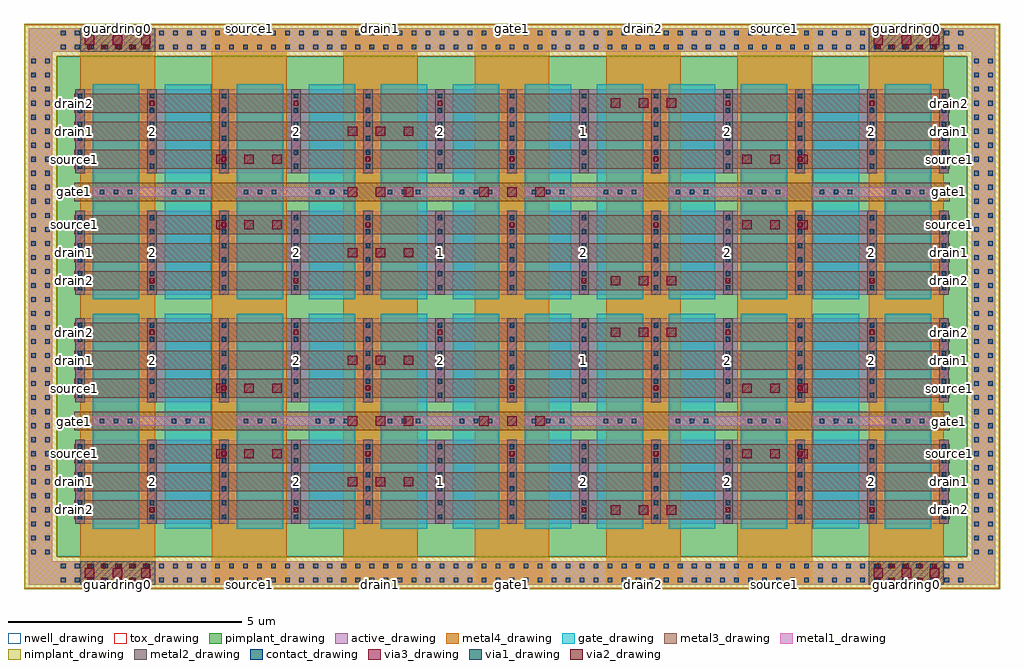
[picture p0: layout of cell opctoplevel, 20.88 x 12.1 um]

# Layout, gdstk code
import gdstk
lib = gdstk.Library(unit=1e-6, precision=1e-09)
def R(c, l, rs):  # rectangles x0, y0, x1, y1
    for r in rs: c.add(gdstk.rectangle(r[:2], r[2:], *l))
def A(c, l, x, y, w, h, nx, ny, dx, dy):  # array of equal rectangles
    R(c, l, [(x+i*dx, y+j*dy, x+i*dx+w, y+j*dy+h) for i in range(nx) for j in range(ny)])
active_drawing = (1, 0)
nwell_drawing = (3, 0)
pimplant_drawing = (4, 0)
nimplant_drawing = (5, 0)
gate_drawing = (6, 0)
contact_drawing = (7, 0)
metal1_drawing = (8, 0)
via1_drawing = (9, 0)
metal2_drawing = (10, 0)
via2_drawing = (11, 0)
metal3_drawing = (12, 0)
via3_drawing = (13, 0)
metal4_drawing = (14, 0)
tox_drawing = (32, 0)

opctoplevel = lib.new_cell('opctoplevel')
A(opctoplevel, active_drawing, -0.37, 0, 3.28, 1.8, 6, 2, 3.08, 2.6)
A(opctoplevel, active_drawing, -0.37, 4.9, 3.28, 1.8, 6, 2, 3.08, 2.6)
R(opctoplevel, active_drawing, [(-1.37,-1.3,19.31,-0.8), (-1.37,-1.3,-0.87,10.6), (18.81,-1.3,19.31,10.6), (-1.37,10.1,19.31,10.6)])
R(opctoplevel, nwell_drawing, [(-1.47,-1.4,19.41,10.7)])
R(opctoplevel, pimplant_drawing, [(-0.77,-0.7,18.71,10)])
R(opctoplevel, nimplant_drawing, [(-1.47,-1.4,19.41,-0.7), (-1.47,-1.4,-0.77,10.7), (18.71,-1.4,19.41,10.7), (-1.47,10,19.41,10.7)])
A(opctoplevel, gate_drawing, 0, -0.1, 1, 2.4, 12, 2, 1.54, 2.2)
A(opctoplevel, gate_drawing, 0, 4.8, 1, 2.4, 12, 2, 1.54, 2.2)
A(opctoplevel, contact_drawing, -0.68, -1.25, 0.1, 0.1, 65, 2, 0.3, 0.3)
A(opctoplevel, contact_drawing, -1.32, -0.65, 0.1, 0.1, 1, 36, 0, 0.3)
A(opctoplevel, contact_drawing, -1.02, -0.65, 0.1, 0.1, 1, 36, 0, 0.3)
A(opctoplevel, contact_drawing, 18.86, -0.65, 0.1, 0.1, 1, 36, 0, 0.3)
A(opctoplevel, contact_drawing, 19.16, -0.65, 0.1, 0.1, 1, 36, 0, 0.3)
A(opctoplevel, contact_drawing, -0.32, 0.1, 0.1, 0.1, 3, 6, 1.54, 0.3)
A(opctoplevel, contact_drawing, 2.76, 0.1, 0.1, 0.1, 3, 6, 1.54, 0.3)
A(opctoplevel, contact_drawing, 5.84, 0.1, 0.1, 0.1, 3, 6, 1.54, 0.3)
A(opctoplevel, contact_drawing, 8.92, 0.1, 0.1, 0.1, 3, 6, 1.54, 0.3)
A(opctoplevel, contact_drawing, 12, 0.1, 0.1, 0.1, 3, 6, 1.54, 0.3)
A(opctoplevel, contact_drawing, 15.08, 0.1, 0.1, 0.1, 3, 6, 1.54, 0.3)
A(opctoplevel, contact_drawing, -0.32, 2.7, 0.1, 0.1, 3, 6, 1.54, 0.3)
A(opctoplevel, contact_drawing, 2.76, 2.7, 0.1, 0.1, 3, 6, 1.54, 0.3)
A(opctoplevel, contact_drawing, 5.84, 2.7, 0.1, 0.1, 3, 6, 1.54, 0.3)
A(opctoplevel, contact_drawing, 8.92, 2.7, 0.1, 0.1, 3, 6, 1.54, 0.3)
A(opctoplevel, contact_drawing, 12, 2.7, 0.1, 0.1, 3, 6, 1.54, 0.3)
A(opctoplevel, contact_drawing, 15.08, 2.7, 0.1, 0.1, 3, 6, 1.54, 0.3)
A(opctoplevel, contact_drawing, -0.32, 5, 0.1, 0.1, 3, 6, 1.54, 0.3)
A(opctoplevel, contact_drawing, 2.76, 5, 0.1, 0.1, 3, 6, 1.54, 0.3)
A(opctoplevel, contact_drawing, 5.84, 5, 0.1, 0.1, 3, 6, 1.54, 0.3)
A(opctoplevel, contact_drawing, 8.92, 5, 0.1, 0.1, 3, 6, 1.54, 0.3)
A(opctoplevel, contact_drawing, 12, 5, 0.1, 0.1, 3, 6, 1.54, 0.3)
A(opctoplevel, contact_drawing, 15.08, 5, 0.1, 0.1, 3, 6, 1.54, 0.3)
A(opctoplevel, contact_drawing, -0.32, 7.6, 0.1, 0.1, 3, 6, 1.54, 0.3)
A(opctoplevel, contact_drawing, 2.76, 7.6, 0.1, 0.1, 3, 6, 1.54, 0.3)
A(opctoplevel, contact_drawing, 5.84, 7.6, 0.1, 0.1, 3, 6, 1.54, 0.3)
A(opctoplevel, contact_drawing, 8.92, 7.6, 0.1, 0.1, 3, 6, 1.54, 0.3)
A(opctoplevel, contact_drawing, 12, 7.6, 0.1, 0.1, 3, 6, 1.54, 0.3)
A(opctoplevel, contact_drawing, 15.08, 7.6, 0.1, 0.1, 3, 6, 1.54, 0.3)
A(opctoplevel, contact_drawing, -0.68, 10.15, 0.1, 0.1, 65, 2, 0.3, 0.3)
R(opctoplevel, contact_drawing, [(0.15,2.15,0.25,2.25), (0.15,2.15,0.25,2.25), (0.45,2.15,0.55,2.25), (0.45,2.15,0.55,2.25), (0.75,2.15,0.85,2.25), (0.75,2.15,0.85,2.25), (1.69,2.15,1.79,2.25), (1.69,2.15,1.79,2.25), (1.99,2.15,2.09,2.25), (1.99,2.15,2.09,2.25), (2.29,2.15,2.39,2.25), (2.29,2.15,2.39,2.25), (3.23,2.15,3.33,2.25), (3.23,2.15,3.33,2.25), (3.53,2.15,3.63,2.25), (3.53,2.15,3.63,2.25), (3.83,2.15,3.93,2.25), (3.83,2.15,3.93,2.25), (4.77,2.15,4.87,2.25), (4.77,2.15,4.87,2.25), (5.07,2.15,5.17,2.25), (5.07,2.15,5.17,2.25), (5.37,2.15,5.47,2.25), (5.37,2.15,5.47,2.25), (6.31,2.15,6.41,2.25), (6.31,2.15,6.41,2.25), (6.61,2.15,6.71,2.25), (6.61,2.15,6.71,2.25), (6.91,2.15,7.01,2.25), (6.91,2.15,7.01,2.25), (7.85,2.15,7.95,2.25), (7.85,2.15,7.95,2.25), (8.15,2.15,8.25,2.25), (8.15,2.15,8.25,2.25), (8.45,2.15,8.55,2.25), (8.45,2.15,8.55,2.25), (9.39,2.15,9.49,2.25), (9.39,2.15,9.49,2.25), (9.69,2.15,9.79,2.25), (9.69,2.15,9.79,2.25), (9.99,2.15,10.09,2.25), (9.99,2.15,10.09,2.25), (10.93,2.15,11.03,2.25), (10.93,2.15,11.03,2.25), (11.23,2.15,11.33,2.25), (11.23,2.15,11.33,2.25), (11.53,2.15,11.63,2.25), (11.53,2.15,11.63,2.25), (12.47,2.15,12.57,2.25), (12.47,2.15,12.57,2.25), (12.77,2.15,12.87,2.25), (12.77,2.15,12.87,2.25), (13.07,2.15,13.17,2.25), (13.07,2.15,13.17,2.25), (14.01,2.15,14.11,2.25), (14.01,2.15,14.11,2.25), (14.31,2.15,14.41,2.25), (14.31,2.15,14.41,2.25), (14.61,2.15,14.71,2.25), (14.61,2.15,14.71,2.25), (15.55,2.15,15.65,2.25), (15.55,2.15,15.65,2.25), (15.85,2.15,15.95,2.25), (15.85,2.15,15.95,2.25), (16.15,2.15,16.25,2.25), (16.15,2.15,16.25,2.25), (17.09,2.15,17.19,2.25), (17.09,2.15,17.19,2.25), (17.39,2.15,17.49,2.25), (17.39,2.15,17.49,2.25), (17.69,2.15,17.79,2.25), (17.69,2.15,17.79,2.25), (0.15,7.05,0.25,7.15), (0.15,7.05,0.25,7.15), (0.45,7.05,0.55,7.15), (0.45,7.05,0.55,7.15), (0.75,7.05,0.85,7.15), (0.75,7.05,0.85,7.15), (1.69,7.05,1.79,7.15), (1.69,7.05,1.79,7.15), (1.99,7.05,2.09,7.15), (1.99,7.05,2.09,7.15), (2.29,7.05,2.39,7.15), (2.29,7.05,2.39,7.15), (3.23,7.05,3.33,7.15), (3.23,7.05,3.33,7.15), (3.53,7.05,3.63,7.15), (3.53,7.05,3.63,7.15), (3.83,7.05,3.93,7.15), (3.83,7.05,3.93,7.15), (4.77,7.05,4.87,7.15), (4.77,7.05,4.87,7.15), (5.07,7.05,5.17,7.15), (5.07,7.05,5.17,7.15), (5.37,7.05,5.47,7.15), (5.37,7.05,5.47,7.15), (6.31,7.05,6.41,7.15), (6.31,7.05,6.41,7.15), (6.61,7.05,6.71,7.15), (6.61,7.05,6.71,7.15), (6.91,7.05,7.01,7.15), (6.91,7.05,7.01,7.15), (7.85,7.05,7.95,7.15), (7.85,7.05,7.95,7.15), (8.15,7.05,8.25,7.15), (8.15,7.05,8.25,7.15), (8.45,7.05,8.55,7.15), (8.45,7.05,8.55,7.15), (9.39,7.05,9.49,7.15), (9.39,7.05,9.49,7.15), (9.69,7.05,9.79,7.15), (9.69,7.05,9.79,7.15), (9.99,7.05,10.09,7.15), (9.99,7.05,10.09,7.15), (10.93,7.05,11.03,7.15), (10.93,7.05,11.03,7.15), (11.23,7.05,11.33,7.15), (11.23,7.05,11.33,7.15), (11.53,7.05,11.63,7.15), (11.53,7.05,11.63,7.15), (12.47,7.05,12.57,7.15), (12.47,7.05,12.57,7.15), (12.77,7.05,12.87,7.15), (12.77,7.05,12.87,7.15), (13.07,7.05,13.17,7.15), (13.07,7.05,13.17,7.15), (14.01,7.05,14.11,7.15), (14.01,7.05,14.11,7.15), (14.31,7.05,14.41,7.15), (14.31,7.05,14.41,7.15), (14.61,7.05,14.71,7.15), (14.61,7.05,14.71,7.15), (15.55,7.05,15.65,7.15), (15.55,7.05,15.65,7.15), (15.85,7.05,15.95,7.15), (15.85,7.05,15.95,7.15), (16.15,7.05,16.25,7.15), (16.15,7.05,16.25,7.15), (17.09,7.05,17.19,7.15), (17.09,7.05,17.19,7.15), (17.39,7.05,17.49,7.15), (17.39,7.05,17.49,7.15), (17.69,7.05,17.79,7.15), (17.69,7.05,17.79,7.15)])
A(opctoplevel, metal1_drawing, -0.37, 0, 0.2, 1.8, 3, 2, 1.54, 2.6)
A(opctoplevel, metal1_drawing, 2.71, 0, 0.2, 1.8, 3, 2, 1.54, 2.6)
A(opctoplevel, metal1_drawing, 5.79, 0, 0.2, 1.8, 3, 2, 1.54, 2.6)
A(opctoplevel, metal1_drawing, 8.87, 0, 0.2, 1.8, 3, 2, 1.54, 2.6)
A(opctoplevel, metal1_drawing, 11.95, 0, 0.2, 1.8, 3, 2, 1.54, 2.6)
A(opctoplevel, metal1_drawing, 15.03, 0, 0.2, 1.8, 3, 2, 1.54, 2.6)
A(opctoplevel, metal1_drawing, -0.37, 4.9, 0.2, 1.8, 3, 2, 1.54, 2.6)
A(opctoplevel, metal1_drawing, 2.71, 4.9, 0.2, 1.8, 3, 2, 1.54, 2.6)
A(opctoplevel, metal1_drawing, 5.79, 4.9, 0.2, 1.8, 3, 2, 1.54, 2.6)
A(opctoplevel, metal1_drawing, 8.87, 4.9, 0.2, 1.8, 3, 2, 1.54, 2.6)
A(opctoplevel, metal1_drawing, 11.95, 4.9, 0.2, 1.8, 3, 2, 1.54, 2.6)
A(opctoplevel, metal1_drawing, 15.03, 4.9, 0.2, 1.8, 3, 2, 1.54, 2.6)
R(opctoplevel, metal1_drawing, [(-1.37,-1.3,19.31,-0.8), (-1.37,-1.3,-0.87,10.6), (-0.266,-1.3,1.334,-0.8), (16.606,-1.3,18.206,-0.8), (18.81,-1.3,19.31,10.6), (0,2.1,2.54,2.3), (0,2.1,2.54,2.3), (3.08,2.1,5.62,2.3), (3.08,2.1,5.62,2.3), (6.16,2.1,8.7,2.3), (6.16,2.1,8.7,2.3), (9.24,2.1,11.78,2.3), (9.24,2.1,11.78,2.3), (12.32,2.1,14.86,2.3), (12.32,2.1,14.86,2.3), (15.4,2.1,17.94,2.3), (15.4,2.1,17.94,2.3), (0,7,2.54,7.2), (0,7,2.54,7.2), (3.08,7,5.62,7.2), (3.08,7,5.62,7.2), (6.16,7,8.7,7.2), (6.16,7,8.7,7.2), (9.24,7,11.78,7.2), (9.24,7,11.78,7.2), (12.32,7,14.86,7.2), (12.32,7,14.86,7.2), (15.4,7,17.94,7.2), (15.4,7,17.94,7.2), (-1.37,10.1,19.31,10.6), (-0.266,10.1,1.334,10.6), (16.606,10.1,18.206,10.6)])
A(opctoplevel, via1_drawing, -0.116, -1.25, 0.1, 0.1, 5, 2, 0.3, 0.3)
A(opctoplevel, via1_drawing, 16.756, -1.25, 0.1, 0.1, 5, 2, 0.3, 0.3)
A(opctoplevel, via1_drawing, -0.32, 0.1, 0.1, 0.1, 3, 6, 1.54, 0.3)
A(opctoplevel, via1_drawing, 2.76, 0.1, 0.1, 0.1, 3, 6, 1.54, 0.3)
A(opctoplevel, via1_drawing, 5.84, 0.1, 0.1, 0.1, 3, 6, 1.54, 0.3)
A(opctoplevel, via1_drawing, 8.92, 0.1, 0.1, 0.1, 3, 6, 1.54, 0.3)
A(opctoplevel, via1_drawing, 12, 0.1, 0.1, 0.1, 3, 6, 1.54, 0.3)
A(opctoplevel, via1_drawing, 15.08, 0.1, 0.1, 0.1, 3, 6, 1.54, 0.3)
A(opctoplevel, via1_drawing, -0.32, 2.7, 0.1, 0.1, 3, 6, 1.54, 0.3)
A(opctoplevel, via1_drawing, 2.76, 2.7, 0.1, 0.1, 3, 6, 1.54, 0.3)
A(opctoplevel, via1_drawing, 5.84, 2.7, 0.1, 0.1, 3, 6, 1.54, 0.3)
A(opctoplevel, via1_drawing, 8.92, 2.7, 0.1, 0.1, 3, 6, 1.54, 0.3)
A(opctoplevel, via1_drawing, 12, 2.7, 0.1, 0.1, 3, 6, 1.54, 0.3)
A(opctoplevel, via1_drawing, 15.08, 2.7, 0.1, 0.1, 3, 6, 1.54, 0.3)
A(opctoplevel, via1_drawing, -0.32, 5, 0.1, 0.1, 3, 6, 1.54, 0.3)
A(opctoplevel, via1_drawing, 2.76, 5, 0.1, 0.1, 3, 6, 1.54, 0.3)
A(opctoplevel, via1_drawing, 5.84, 5, 0.1, 0.1, 3, 6, 1.54, 0.3)
A(opctoplevel, via1_drawing, 8.92, 5, 0.1, 0.1, 3, 6, 1.54, 0.3)
A(opctoplevel, via1_drawing, 12, 5, 0.1, 0.1, 3, 6, 1.54, 0.3)
A(opctoplevel, via1_drawing, 15.08, 5, 0.1, 0.1, 3, 6, 1.54, 0.3)
A(opctoplevel, via1_drawing, -0.32, 7.6, 0.1, 0.1, 3, 6, 1.54, 0.3)
A(opctoplevel, via1_drawing, 2.76, 7.6, 0.1, 0.1, 3, 6, 1.54, 0.3)
A(opctoplevel, via1_drawing, 5.84, 7.6, 0.1, 0.1, 3, 6, 1.54, 0.3)
A(opctoplevel, via1_drawing, 8.92, 7.6, 0.1, 0.1, 3, 6, 1.54, 0.3)
A(opctoplevel, via1_drawing, 12, 7.6, 0.1, 0.1, 3, 6, 1.54, 0.3)
A(opctoplevel, via1_drawing, 15.08, 7.6, 0.1, 0.1, 3, 6, 1.54, 0.3)
A(opctoplevel, via1_drawing, -0.116, 10.15, 0.1, 0.1, 5, 2, 0.3, 0.3)
A(opctoplevel, via1_drawing, 16.756, 10.15, 0.1, 0.1, 5, 2, 0.3, 0.3)
A(opctoplevel, metal2_drawing, -0.37, 0, 0.2, 1.8, 3, 2, 1.54, 2.6)
A(opctoplevel, metal2_drawing, 2.71, 0, 0.2, 1.8, 3, 2, 1.54, 2.6)
A(opctoplevel, metal2_drawing, 5.79, 0, 0.2, 1.8, 3, 2, 1.54, 2.6)
A(opctoplevel, metal2_drawing, 8.87, 0, 0.2, 1.8, 3, 2, 1.54, 2.6)
A(opctoplevel, metal2_drawing, 11.95, 0, 0.2, 1.8, 3, 2, 1.54, 2.6)
A(opctoplevel, metal2_drawing, 15.03, 0, 0.2, 1.8, 3, 2, 1.54, 2.6)
A(opctoplevel, metal2_drawing, 10.41, 0.1, 0.2, 0.4, 3, 2, 3.08, 4.9)
A(opctoplevel, metal2_drawing, 1.17, 3.9, 0.2, 0.4, 3, 2, 3.08, 4.9)
A(opctoplevel, metal2_drawing, -0.37, 4.9, 0.2, 1.8, 3, 2, 1.54, 2.6)
A(opctoplevel, metal2_drawing, 2.71, 4.9, 0.2, 1.8, 3, 2, 1.54, 2.6)
A(opctoplevel, metal2_drawing, 5.79, 4.9, 0.2, 1.8, 3, 2, 1.54, 2.6)
A(opctoplevel, metal2_drawing, 8.87, 4.9, 0.2, 1.8, 3, 2, 1.54, 2.6)
A(opctoplevel, metal2_drawing, 11.95, 4.9, 0.2, 1.8, 3, 2, 1.54, 2.6)
A(opctoplevel, metal2_drawing, 15.03, 4.9, 0.2, 1.8, 3, 2, 1.54, 2.6)
R(opctoplevel, metal2_drawing, [(-0.266,-1.3,1.334,-0.8), (16.606,-1.3,18.206,-0.8), (1.17,0.1,1.37,0.5), (4.25,0.1,4.45,0.5), (7.33,0.7,7.53,1.1), (-0.37,1.3,-0.17,1.7), (2.71,1.3,2.91,1.7), (2.71,1.3,2.91,1.7), (5.79,1.3,5.99,1.7), (5.79,1.3,5.99,1.7), (8.87,1.3,9.07,1.7), (8.87,1.3,9.07,1.7), (11.95,1.3,12.15,1.7), (11.95,1.3,12.15,1.7), (15.03,1.3,15.23,1.7), (15.03,1.3,15.23,1.7), (18.11,1.3,18.31,1.7), (-0.37,2.7,-0.17,3.1), (2.71,2.7,2.91,3.1), (2.71,2.7,2.91,3.1), (5.79,2.7,5.99,3.1), (5.79,2.7,5.99,3.1), (8.87,2.7,9.07,3.1), (8.87,2.7,9.07,3.1), (11.95,2.7,12.15,3.1), (11.95,2.7,12.15,3.1), (15.03,2.7,15.23,3.1), (15.03,2.7,15.23,3.1), (18.11,2.7,18.31,3.1), (10.41,3.3,10.61,3.7), (13.49,3.9,13.69,4.3), (16.57,3.9,16.77,4.3), (1.17,5,1.37,5.4), (4.25,5,4.45,5.4), (7.33,5.6,7.53,6), (-0.37,6.2,-0.17,6.6), (2.71,6.2,2.91,6.6), (2.71,6.2,2.91,6.6), (5.79,6.2,5.99,6.6), (5.79,6.2,5.99,6.6), (8.87,6.2,9.07,6.6), (8.87,6.2,9.07,6.6), (11.95,6.2,12.15,6.6), (11.95,6.2,12.15,6.6), (15.03,6.2,15.23,6.6), (15.03,6.2,15.23,6.6), (18.11,6.2,18.31,6.6), (-0.37,7.6,-0.17,8), (2.71,7.6,2.91,8), (2.71,7.6,2.91,8), (5.79,7.6,5.99,8), (5.79,7.6,5.99,8), (8.87,7.6,9.07,8), (8.87,7.6,9.07,8), (11.95,7.6,12.15,8), (11.95,7.6,12.15,8), (15.03,7.6,15.23,8), (15.03,7.6,15.23,8), (18.11,7.6,18.31,8), (10.41,8.2,10.61,8.6), (13.49,8.8,13.69,9.2), (16.57,8.8,16.77,9.2), (-0.266,10.1,1.334,10.6), (16.606,10.1,18.206,10.6)])
A(opctoplevel, via2_drawing, -0.116, -1.25, 0.1, 0.1, 5, 2, 0.3, 0.3)
A(opctoplevel, via2_drawing, 16.756, -1.25, 0.1, 0.1, 5, 2, 0.3, 0.3)
A(opctoplevel, via2_drawing, 10.46, 0.25, 0.1, 0.1, 3, 2, 3.08, 4.9)
A(opctoplevel, via2_drawing, 1.22, 4.05, 0.1, 0.1, 3, 2, 3.08, 4.9)
A(opctoplevel, via2_drawing, -0.116, 10.15, 0.1, 0.1, 5, 2, 0.3, 0.3)
A(opctoplevel, via2_drawing, 16.756, 10.15, 0.1, 0.1, 5, 2, 0.3, 0.3)
R(opctoplevel, via2_drawing, [(1.22,0.25,1.32,0.35), (4.3,0.25,4.4,0.35), (7.38,0.85,7.48,0.95), (-0.32,1.45,-0.22,1.55), (2.76,1.45,2.86,1.55), (2.76,1.45,2.86,1.55), (5.84,1.45,5.94,1.55), (5.84,1.45,5.94,1.55), (8.92,1.45,9.02,1.55), (8.92,1.45,9.02,1.55), (12,1.45,12.1,1.55), (12,1.45,12.1,1.55), (15.08,1.45,15.18,1.55), (15.08,1.45,15.18,1.55), (18.16,1.45,18.26,1.55), (-0.32,2.85,-0.22,2.95), (2.76,2.85,2.86,2.95), (2.76,2.85,2.86,2.95), (5.84,2.85,5.94,2.95), (5.84,2.85,5.94,2.95), (8.92,2.85,9.02,2.95), (8.92,2.85,9.02,2.95), (12,2.85,12.1,2.95), (12,2.85,12.1,2.95), (15.08,2.85,15.18,2.95), (15.08,2.85,15.18,2.95), (18.16,2.85,18.26,2.95), (10.46,3.45,10.56,3.55), (13.54,4.05,13.64,4.15), (16.62,4.05,16.72,4.15), (1.22,5.15,1.32,5.25), (4.3,5.15,4.4,5.25), (7.38,5.75,7.48,5.85), (-0.32,6.35,-0.22,6.45), (2.76,6.35,2.86,6.45), (2.76,6.35,2.86,6.45), (5.84,6.35,5.94,6.45), (5.84,6.35,5.94,6.45), (8.92,6.35,9.02,6.45), (8.92,6.35,9.02,6.45), (12,6.35,12.1,6.45), (12,6.35,12.1,6.45), (15.08,6.35,15.18,6.45), (15.08,6.35,15.18,6.45), (18.16,6.35,18.26,6.45), (-0.32,7.75,-0.22,7.85), (2.76,7.75,2.86,7.85), (2.76,7.75,2.86,7.85), (5.84,7.75,5.94,7.85), (5.84,7.75,5.94,7.85), (8.92,7.75,9.02,7.85), (8.92,7.75,9.02,7.85), (12,7.75,12.1,7.85), (12,7.75,12.1,7.85), (15.08,7.75,15.18,7.85), (15.08,7.75,15.18,7.85), (18.16,7.75,18.26,7.85), (10.46,8.35,10.56,8.45), (13.54,8.95,13.64,9.05), (16.62,8.95,16.72,9.05)])
A(opctoplevel, metal3_drawing, -0.4, 0.1, 18.74, 0.4, 1, 3, 0, 0.6)
A(opctoplevel, metal3_drawing, 10.41, 0.1, 0.2, 0.4, 3, 2, 3.08, 4.9)
A(opctoplevel, metal3_drawing, -0.4, 2.7, 18.74, 0.4, 1, 3, 0, 0.6)
A(opctoplevel, metal3_drawing, 1.17, 3.9, 0.2, 0.4, 3, 2, 3.08, 4.9)
A(opctoplevel, metal3_drawing, -0.4, 5, 18.74, 0.4, 1, 3, 0, 0.6)
A(opctoplevel, metal3_drawing, -0.4, 7.6, 18.74, 0.4, 1, 3, 0, 0.6)
R(opctoplevel, metal3_drawing, [(-0.266,-1.3,1.334,-0.8), (16.606,-1.3,18.206,-0.8), (1.17,0.1,1.37,0.5), (4.25,0.1,4.45,0.5), (7.33,0.7,7.53,1.1), (-0.37,1.3,-0.17,1.7), (2.71,1.3,2.91,1.7), (2.71,1.3,2.91,1.7), (5.79,1.3,5.99,1.7), (5.79,1.3,5.99,1.7), (8.87,1.3,9.07,1.7), (8.87,1.3,9.07,1.7), (11.95,1.3,12.15,1.7), (11.95,1.3,12.15,1.7), (15.03,1.3,15.23,1.7), (15.03,1.3,15.23,1.7), (18.11,1.3,18.31,1.7), (-0.4,2,18.34,2.4), (-0.37,2.7,-0.17,3.1), (2.71,2.7,2.91,3.1), (2.71,2.7,2.91,3.1), (5.79,2.7,5.99,3.1), (5.79,2.7,5.99,3.1), (8.87,2.7,9.07,3.1), (8.87,2.7,9.07,3.1), (11.95,2.7,12.15,3.1), (11.95,2.7,12.15,3.1), (15.03,2.7,15.23,3.1), (15.03,2.7,15.23,3.1), (18.11,2.7,18.31,3.1), (10.41,3.3,10.61,3.7), (13.49,3.9,13.69,4.3), (16.57,3.9,16.77,4.3), (1.17,5,1.37,5.4), (4.25,5,4.45,5.4), (7.33,5.6,7.53,6), (-0.37,6.2,-0.17,6.6), (2.71,6.2,2.91,6.6), (2.71,6.2,2.91,6.6), (5.79,6.2,5.99,6.6), (5.79,6.2,5.99,6.6), (8.87,6.2,9.07,6.6), (8.87,6.2,9.07,6.6), (11.95,6.2,12.15,6.6), (11.95,6.2,12.15,6.6), (15.03,6.2,15.23,6.6), (15.03,6.2,15.23,6.6), (18.11,6.2,18.31,6.6), (-0.4,6.9,18.34,7.3), (-0.37,7.6,-0.17,8), (2.71,7.6,2.91,8), (2.71,7.6,2.91,8), (5.79,7.6,5.99,8), (5.79,7.6,5.99,8), (8.87,7.6,9.07,8), (8.87,7.6,9.07,8), (11.95,7.6,12.15,8), (11.95,7.6,12.15,8), (15.03,7.6,15.23,8), (15.03,7.6,15.23,8), (18.11,7.6,18.31,8), (10.41,8.2,10.61,8.6), (13.49,8.8,13.69,9.2), (16.57,8.8,16.77,9.2), (-0.266,10.1,1.334,10.6), (16.606,10.1,18.206,10.6)])
A(opctoplevel, via3_drawing, -0.166, -1.15, 0.2, 0.2, 3, 2, 0.6, 11.4)
A(opctoplevel, via3_drawing, 16.706, -1.15, 0.2, 0.2, 3, 2, 0.6, 11.4)
A(opctoplevel, via3_drawing, 11.082, 0.2, 0.2, 0.2, 3, 2, 0.6, 3.8)
A(opctoplevel, via3_drawing, 5.458, 0.8, 0.2, 0.2, 3, 2, 0.6, 2.6)
A(opctoplevel, via3_drawing, 2.646, 1.4, 0.2, 0.2, 3, 2, 0.6, 1.4)
A(opctoplevel, via3_drawing, 13.894, 1.4, 0.2, 0.2, 3, 2, 0.6, 1.4)
A(opctoplevel, via3_drawing, 11.082, 5.1, 0.2, 0.2, 3, 2, 0.6, 3.8)
A(opctoplevel, via3_drawing, 5.458, 5.7, 0.2, 0.2, 3, 2, 0.6, 2.6)
A(opctoplevel, via3_drawing, 2.646, 6.3, 0.2, 0.2, 3, 2, 0.6, 1.4)
A(opctoplevel, via3_drawing, 13.894, 6.3, 0.2, 0.2, 3, 2, 0.6, 1.4)
R(opctoplevel, via3_drawing, [(5.458,2.1,5.658,2.3), (5.458,2.1,5.658,2.3), (5.458,2.1,5.658,2.3), (5.458,2.1,5.658,2.3), (5.458,2.1,5.658,2.3), (5.458,2.1,5.658,2.3), (5.458,2.1,5.658,2.3), (5.458,2.1,5.658,2.3), (5.458,2.1,5.658,2.3), (5.458,2.1,5.658,2.3), (5.458,2.1,5.658,2.3), (5.458,2.1,5.658,2.3), (6.058,2.1,6.258,2.3), (6.058,2.1,6.258,2.3), (6.058,2.1,6.258,2.3), (6.058,2.1,6.258,2.3), (6.058,2.1,6.258,2.3), (6.058,2.1,6.258,2.3), (6.058,2.1,6.258,2.3), (6.058,2.1,6.258,2.3), (6.058,2.1,6.258,2.3), (6.058,2.1,6.258,2.3), (6.058,2.1,6.258,2.3), (6.058,2.1,6.258,2.3), (6.658,2.1,6.858,2.3), (6.658,2.1,6.858,2.3), (6.658,2.1,6.858,2.3), (6.658,2.1,6.858,2.3), (6.658,2.1,6.858,2.3), (6.658,2.1,6.858,2.3), (6.658,2.1,6.858,2.3), (6.658,2.1,6.858,2.3), (6.658,2.1,6.858,2.3), (6.658,2.1,6.858,2.3), (6.658,2.1,6.858,2.3), (6.658,2.1,6.858,2.3), (8.27,2.1,8.47,2.3), (8.27,2.1,8.47,2.3), (8.87,2.1,9.07,2.3), (8.87,2.1,9.07,2.3), (9.47,2.1,9.67,2.3), (9.47,2.1,9.67,2.3), (5.458,7,5.658,7.2), (5.458,7,5.658,7.2), (5.458,7,5.658,7.2), (5.458,7,5.658,7.2), (5.458,7,5.658,7.2), (5.458,7,5.658,7.2), (5.458,7,5.658,7.2), (5.458,7,5.658,7.2), (5.458,7,5.658,7.2), (5.458,7,5.658,7.2), (5.458,7,5.658,7.2), (5.458,7,5.658,7.2), (6.058,7,6.258,7.2), (6.058,7,6.258,7.2), (6.058,7,6.258,7.2), (6.058,7,6.258,7.2), (6.058,7,6.258,7.2), (6.058,7,6.258,7.2), (6.058,7,6.258,7.2), (6.058,7,6.258,7.2), (6.058,7,6.258,7.2), (6.058,7,6.258,7.2), (6.058,7,6.258,7.2), (6.058,7,6.258,7.2), (6.658,7,6.858,7.2), (6.658,7,6.858,7.2), (6.658,7,6.858,7.2), (6.658,7,6.858,7.2), (6.658,7,6.858,7.2), (6.658,7,6.858,7.2), (6.658,7,6.858,7.2), (6.658,7,6.858,7.2), (6.658,7,6.858,7.2), (6.658,7,6.858,7.2), (6.658,7,6.858,7.2), (6.658,7,6.858,7.2), (8.27,7,8.47,7.2), (8.27,7,8.47,7.2), (8.87,7,9.07,7.2), (8.87,7,9.07,7.2), (9.47,7,9.67,7.2), (9.47,7,9.67,7.2)])
A(opctoplevel, metal4_drawing, -0.266, -1.3, 1.6, 11.9, 7, 1, 2.812, 0)
R(opctoplevel, metal4_drawing, [(-0.266,-1.3,1.334,-0.8), (16.606,-1.3,18.206,-0.8), (-0.266,10.1,1.334,10.6), (16.606,10.1,18.206,10.6)])
R(opctoplevel, tox_drawing, [(-1.45,-1.38,19.39,10.68)])
opctoplevel.add(gdstk.Label('2', (1.27,0.9), layer=234, texttype=0))
opctoplevel.add(gdstk.Label('2', (4.35,0.9), layer=234, texttype=0))
opctoplevel.add(gdstk.Label('1', (7.43,0.9), layer=234, texttype=0))
opctoplevel.add(gdstk.Label('2', (10.51,0.9), layer=234, texttype=0))
opctoplevel.add(gdstk.Label('2', (13.59,0.9), layer=234, texttype=0))
opctoplevel.add(gdstk.Label('2', (16.67,0.9), layer=234, texttype=0))
opctoplevel.add(gdstk.Label('2', (1.27,3.5), layer=234, texttype=0))
opctoplevel.add(gdstk.Label('2', (4.35,3.5), layer=234, texttype=0))
opctoplevel.add(gdstk.Label('2', (7.43,3.5), layer=234, texttype=0))
opctoplevel.add(gdstk.Label('1', (10.51,3.5), layer=234, texttype=0))
opctoplevel.add(gdstk.Label('2', (13.59,3.5), layer=234, texttype=0))
opctoplevel.add(gdstk.Label('2', (16.67,3.5), layer=234, texttype=0))
opctoplevel.add(gdstk.Label('2', (1.27,5.8), layer=234, texttype=0))
opctoplevel.add(gdstk.Label('2', (4.35,5.8), layer=234, texttype=0))
opctoplevel.add(gdstk.Label('1', (7.43,5.8), layer=234, texttype=0))
opctoplevel.add(gdstk.Label('2', (10.51,5.8), layer=234, texttype=0))
opctoplevel.add(gdstk.Label('2', (13.59,5.8), layer=234, texttype=0))
opctoplevel.add(gdstk.Label('2', (16.67,5.8), layer=234, texttype=0))
opctoplevel.add(gdstk.Label('2', (1.27,8.4), layer=234, texttype=0))
opctoplevel.add(gdstk.Label('2', (4.35,8.4), layer=234, texttype=0))
opctoplevel.add(gdstk.Label('2', (7.43,8.4), layer=234, texttype=0))
opctoplevel.add(gdstk.Label('1', (10.51,8.4), layer=234, texttype=0))
opctoplevel.add(gdstk.Label('2', (13.59,8.4), layer=234, texttype=0))
opctoplevel.add(gdstk.Label('2', (16.67,8.4), layer=234, texttype=0))
opctoplevel.add(gdstk.Label('gate1', (-0.4,2.2), layer=12, texttype=0))
opctoplevel.add(gdstk.Label('gate1', (18.34,2.2), layer=12, texttype=0))
opctoplevel.add(gdstk.Label('gate1', (-0.4,7.1), layer=12, texttype=0))
opctoplevel.add(gdstk.Label('gate1', (18.34,7.1), layer=12, texttype=0))
opctoplevel.add(gdstk.Label('source1', (-0.4,1.5), layer=12, texttype=0))
opctoplevel.add(gdstk.Label('source1', (18.34,1.5), layer=12, texttype=0))
opctoplevel.add(gdstk.Label('drain1', (-0.4,0.9), layer=12, texttype=0))
opctoplevel.add(gdstk.Label('drain1', (18.34,0.9), layer=12, texttype=0))
opctoplevel.add(gdstk.Label('drain2', (-0.4,0.3), layer=12, texttype=0))
opctoplevel.add(gdstk.Label('drain2', (18.34,0.3), layer=12, texttype=0))
opctoplevel.add(gdstk.Label('source1', (-0.4,2.9), layer=12, texttype=0))
opctoplevel.add(gdstk.Label('source1', (18.34,2.9), layer=12, texttype=0))
opctoplevel.add(gdstk.Label('drain1', (-0.4,3.5), layer=12, texttype=0))
opctoplevel.add(gdstk.Label('drain1', (18.34,3.5), layer=12, texttype=0))
opctoplevel.add(gdstk.Label('drain2', (-0.4,4.1), layer=12, texttype=0))
opctoplevel.add(gdstk.Label('drain2', (18.34,4.1), layer=12, texttype=0))
opctoplevel.add(gdstk.Label('source1', (-0.4,6.4), layer=12, texttype=0))
opctoplevel.add(gdstk.Label('source1', (18.34,6.4), layer=12, texttype=0))
opctoplevel.add(gdstk.Label('drain1', (-0.4,5.8), layer=12, texttype=0))
opctoplevel.add(gdstk.Label('drain1', (18.34,5.8), layer=12, texttype=0))
opctoplevel.add(gdstk.Label('drain2', (-0.4,5.2), layer=12, texttype=0))
opctoplevel.add(gdstk.Label('drain2', (18.34,5.2), layer=12, texttype=0))
opctoplevel.add(gdstk.Label('source1', (-0.4,7.8), layer=12, texttype=0))
opctoplevel.add(gdstk.Label('source1', (18.34,7.8), layer=12, texttype=0))
opctoplevel.add(gdstk.Label('drain1', (-0.4,8.4), layer=12, texttype=0))
opctoplevel.add(gdstk.Label('drain1', (18.34,8.4), layer=12, texttype=0))
opctoplevel.add(gdstk.Label('drain2', (-0.4,9), layer=12, texttype=0))
opctoplevel.add(gdstk.Label('drain2', (18.34,9), layer=12, texttype=0))
opctoplevel.add(gdstk.Label('guardring0', (0.534,-1.3), layer=14, texttype=0))
opctoplevel.add(gdstk.Label('guardring0', (0.534,10.6), layer=14, texttype=0))
opctoplevel.add(gdstk.Label('source1', (3.346,-1.3), layer=14, texttype=0))
opctoplevel.add(gdstk.Label('source1', (3.346,10.6), layer=14, texttype=0))
opctoplevel.add(gdstk.Label('drain1', (6.158,-1.3), layer=14, texttype=0))
opctoplevel.add(gdstk.Label('drain1', (6.158,10.6), layer=14, texttype=0))
opctoplevel.add(gdstk.Label('gate1', (8.97,-1.3), layer=14, texttype=0))
opctoplevel.add(gdstk.Label('gate1', (8.97,10.6), layer=14, texttype=0))
opctoplevel.add(gdstk.Label('drain2', (11.782,-1.3), layer=14, texttype=0))
opctoplevel.add(gdstk.Label('drain2', (11.782,10.6), layer=14, texttype=0))
opctoplevel.add(gdstk.Label('source1', (14.594,-1.3), layer=14, texttype=0))
opctoplevel.add(gdstk.Label('source1', (14.594,10.6), layer=14, texttype=0))
opctoplevel.add(gdstk.Label('guardring0', (17.406,-1.3), layer=14, texttype=0))
opctoplevel.add(gdstk.Label('guardring0', (17.406,10.6), layer=14, texttype=0))

lib.write_gds('opctoplevel.gds')
